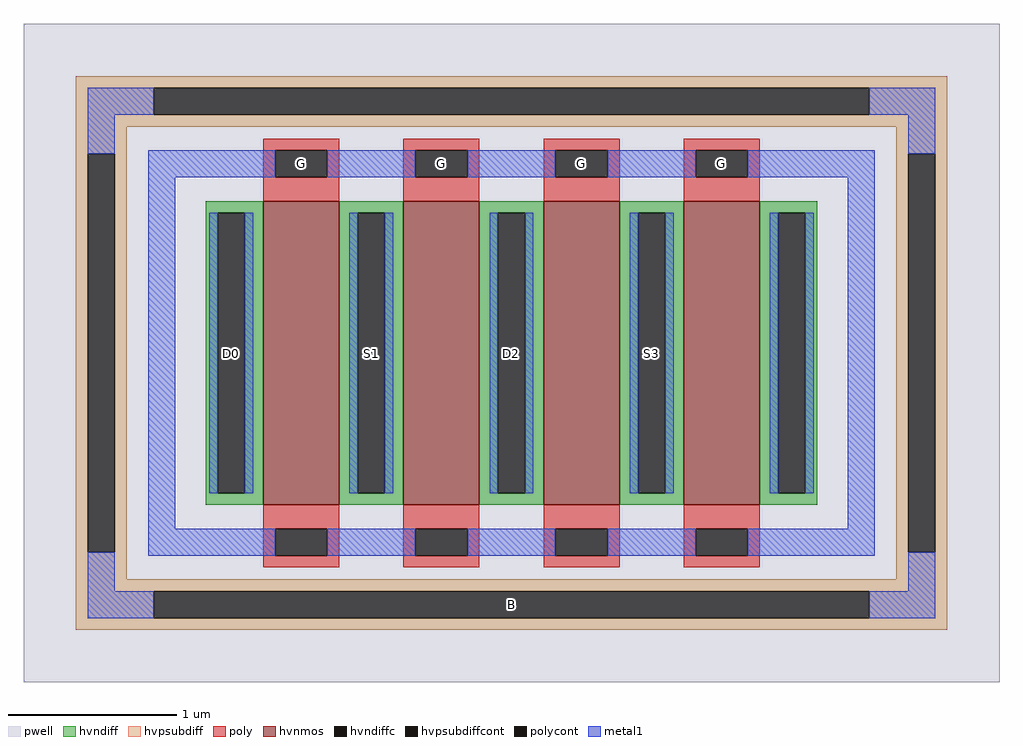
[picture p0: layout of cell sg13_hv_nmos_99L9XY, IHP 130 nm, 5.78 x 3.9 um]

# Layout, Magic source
magic
tech ihp-sg13cmos5l
magscale 1 2
<< pwell >>
rect -578 -390 578 390
<< hvnmos >>
rect -294 -180 -204 180
rect -128 -180 -38 180
rect 38 -180 128 180
rect 204 -180 294 180
<< hvndiff >>
rect -362 166 -294 180
rect -362 -166 -348 166
rect -316 -166 -294 166
rect -362 -180 -294 -166
rect -204 166 -128 180
rect -204 -166 -182 166
rect -150 -166 -128 166
rect -204 -180 -128 -166
rect -38 166 38 180
rect -38 -166 -16 166
rect 16 -166 38 166
rect -38 -180 38 -166
rect 128 166 204 180
rect 128 -166 150 166
rect 182 -166 204 166
rect 128 -180 204 -166
rect 294 166 362 180
rect 294 -166 316 166
rect 348 -166 362 166
rect 294 -180 362 -166
<< hvndiffc >>
rect -348 -166 -316 166
rect -182 -166 -150 166
rect -16 -166 16 166
rect 150 -166 182 166
rect 316 -166 348 166
<< hvpsubdiff >>
rect -516 314 516 328
rect -516 282 -424 314
rect 424 282 516 314
rect -516 268 516 282
rect -516 236 -456 268
rect -516 -236 -502 236
rect -470 -236 -456 236
rect 456 236 516 268
rect -516 -268 -456 -236
rect 456 -236 470 236
rect 502 -236 516 236
rect 456 -268 516 -236
rect -516 -282 516 -268
rect -516 -314 -424 -282
rect 424 -314 516 -282
rect -516 -328 516 -314
<< hvpsubdiffcont >>
rect -424 282 424 314
rect -502 -236 -470 236
rect 470 -236 502 236
rect -424 -314 424 -282
<< poly >>
rect -294 240 -204 254
rect -294 208 -280 240
rect -218 208 -204 240
rect -294 180 -204 208
rect -128 240 -38 254
rect -128 208 -114 240
rect -52 208 -38 240
rect -128 180 -38 208
rect 38 240 128 254
rect 38 208 52 240
rect 114 208 128 240
rect 38 180 128 208
rect 204 240 294 254
rect 204 208 218 240
rect 280 208 294 240
rect 204 180 294 208
rect -294 -208 -204 -180
rect -294 -240 -280 -208
rect -218 -240 -204 -208
rect -294 -254 -204 -240
rect -128 -208 -38 -180
rect -128 -240 -114 -208
rect -52 -240 -38 -208
rect -128 -254 -38 -240
rect 38 -208 128 -180
rect 38 -240 52 -208
rect 114 -240 128 -208
rect 38 -254 128 -240
rect 204 -208 294 -180
rect 204 -240 218 -208
rect 280 -240 294 -208
rect 204 -254 294 -240
<< polycont >>
rect -280 208 -218 240
rect -114 208 -52 240
rect 52 208 114 240
rect 218 208 280 240
rect -280 -240 -218 -208
rect -114 -240 -52 -208
rect 52 -240 114 -208
rect 218 -240 280 -208
<< metal1 >>
rect -502 282 -424 314
rect 424 282 502 314
rect -502 236 -470 282
rect -502 -282 -470 -236
rect -430 208 -280 240
rect -218 208 -114 240
rect -52 208 52 240
rect 114 208 218 240
rect 280 208 430 240
rect -430 -208 -398 208
rect -358 -166 -348 166
rect -316 -166 -306 166
rect -192 -166 -182 166
rect -150 -166 -140 166
rect -26 -166 -16 166
rect 16 -166 26 166
rect 140 -166 150 166
rect 182 -166 192 166
rect 306 -166 316 166
rect 348 -166 358 166
rect 398 -208 430 208
rect -430 -240 -280 -208
rect -218 -240 -114 -208
rect -52 -240 52 -208
rect 114 -240 218 -208
rect 280 -240 430 -208
rect 470 236 502 282
rect 470 -282 502 -236
rect -502 -314 -424 -282
rect 424 -314 502 -282
<< labels >>
rlabel hvpsubdiffcont 0 -298 0 -298 0 B
port 1 nsew
rlabel hvndiffc -332 0 -332 0 0 D0
port 2 nsew
rlabel polycont -249 224 -249 224 0 G
port 3 nsew
rlabel hvndiffc -166 0 -166 0 0 S1
port 4 nsew
rlabel polycont -83 224 -83 224 0 G
port 3 nsew
rlabel hvndiffc 0 0 0 0 0 D2
port 5 nsew
rlabel polycont 83 224 83 224 0 G
port 3 nsew
rlabel hvndiffc 166 0 166 0 0 S3
port 6 nsew
rlabel polycont 249 224 249 224 0 G
port 3 nsew
<< properties >>
string FIXED_BBOX -486 -298 486 298
string gencell sg13_hv_nmos
string library sg13cmos5l
string parameters w 1.8 l 0.45 m 1 ng 4 diffcov 100 polycov 100 guard 1 glc 1 grc 1 gtc 1 gbc 1 tbcov 100 rlcov 100 topc 1 botc 1 poverlap 0 doverlap 1 lmin 0.45 wmin 0.15 class mosfet compatible {sg13_lv_nmos sg13_hv_nmos} full_metal 1 conn_gates 1 gate_ring 1 doports 1 viasrc 0 viadrn 0 viagate 0 ccols 1 viagb 0 viagr 0 viagl 0 viagt 0
<< end >>
